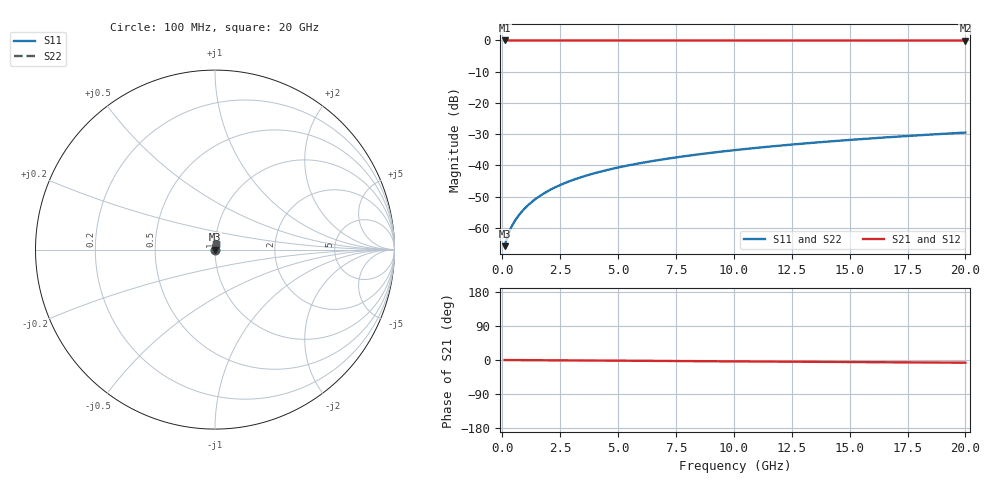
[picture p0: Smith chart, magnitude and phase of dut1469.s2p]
! Touchstone file exported from HFSS 2026.1.0
!  File:  C:/ffzhzh/LocalFiles/Ansys_Project_Files/temp_train_BSMRDL_1469_1783181061_51560.aedt
!  Generated:  12:05:29 AM Jul  5, 2026
!  Design:  BSMRDL
!  Project:  temp_train_BSMRDL_1469_1783181061_51560
! Variables:
!  h_bsmrdl = 5.59um
!  h_ox = 20um
!  h_rdl = 5um
!  h_sub = 80um
!  h_tmrdl = 5um
!  h_tsv = 80um
!  h_via = 3um
!  l_bsmrdl = 104.89um
!  l_sub = 504.89um
!  l_tmrdl = 200um
!  m_sub = 200um
!  pitch = 33.18um
!  r_tsv = 6um
!  s_tmrdl = 10um
!  w_bsmrdl = 22.93um
!  w_sub = 500um
!  w_tmrdl = 12um
!  x_tsv_center1 = 206um
!  x_tsv_center2 = 333.82um
!  x_tsv_center3 = 545.82um
!  x_tsv_center4 = 673.64um
!  x_tsv_center5 = 885.64um
!  x_tsv_center6 = 1013.46um
# GHz S MA R 50.000000
! Terminal data exported
! Port[1] = BSM_RDL1_1_T1
! Port[2] = BSM_RDL1_1_T2
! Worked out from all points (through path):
!   200 points, 100 MHz to 20 GHz, reference 50 ohm
!   highest |S21| = 0.00 dB at 100 MHz (marker M1); lowest = 0.0 dB at 20 GHz (marker M2)
!   lowest |S11| = -65.8 dB at 100 MHz (marker M3), VSWR 1.00, Z = 50 + j0.0256 ohm
!   |S11| at or under -10 dB: start of sweep to end of sweep
!   |S22| runs from -65.8 to -29.5 dB; largest |S21 - S12| = 2.1e-15
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0.1  0.0005121 30.0  0.9996 -0.0  0.9996 -0.0  0.0005121 30.0
! Gamma 0 0 0 0
! Port Impedance 50 0 50 0
0.2  0.0006887 45.0  0.9995 -0.1  0.9995 -0.1  0.0006887 45.0
0.3  0.0008733 52.6  0.9995 -0.1  0.9995 -0.1  0.0008732 52.6
0.4  0.001051 57.4  0.9994 -0.2  0.9994 -0.2  0.001051 57.4
0.5  0.001226 61.0  0.9994 -0.2  0.9994 -0.2  0.001226 61.0
0.6  0.0014 63.8  0.9994 -0.2  0.9994 -0.2  0.0014 63.8
0.8  0.001752 68.1  0.9993 -0.3  0.9993 -0.3  0.001752 68.1
1  0.002111 71.1  0.9993 -0.4  0.9993 -0.4  0.002111 71.1
1.2  0.002475 73.2  0.9993 -0.4  0.9993 -0.4  0.002475 73.2
1.4  0.002843 74.8  0.9993 -0.5  0.9993 -0.5  0.002843 74.8
1.7  0.003397 76.4  0.9992 -0.6  0.9992 -0.6  0.003397 76.4
2.2  0.004319 78.0  0.9991 -0.8  0.9991 -0.8  0.004319 78.0
2.8  0.005414 79.0  0.999 -1.0  0.999 -1.0  0.005414 79.0
3.5  0.00667 79.5  0.9989 -1.3  0.9989 -1.3  0.00667 79.5
4.2  0.0079 79.8  0.9988 -1.5  0.9988 -1.5  0.0079 79.8
5  0.00928 79.9  0.9986 -1.8  0.9986 -1.8  0.00928 79.9
6.8  0.01231 80.0  0.9983 -2.5  0.9983 -2.5  0.01231 80.0
8.3  0.01478 79.9  0.9981 -3.0  0.9981 -3.0  0.01478 79.9
10.1  0.01772 79.8  0.9978 -3.6  0.9978 -3.6  0.01772 79.8
13.4  0.02307 79.4  0.9974 -4.8  0.9974 -4.8  0.02307 79.4
16.7  0.02837 78.7  0.997 -6.0  0.997 -6.0  0.02837 78.7
20  0.03361 77.9  0.9965 -7.1  0.9965 -7.1  0.03362 77.9
